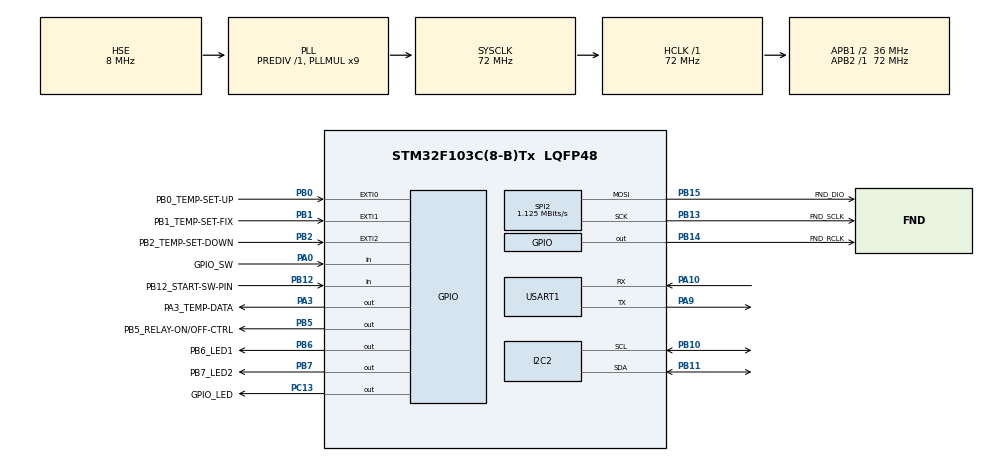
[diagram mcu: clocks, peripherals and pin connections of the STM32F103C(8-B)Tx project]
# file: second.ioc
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I2C2.I2C_Mode=I2C_Fast
Mcu.Family=STM32F1
Mcu.Name=STM32F103C(8-B)Tx
Mcu.Package=LQFP48
NVIC.EXTI0_IRQn=true\:9\:0\:true\:false\:true\:true\:true\:true
NVIC.EXTI1_IRQn=true\:9\:0\:true\:false\:true\:true\:true\:true
NVIC.EXTI2_IRQn=true\:9\:0\:true\:false\:true\:true\:true\:true
NVIC.PriorityGroup=NVIC_PRIORITYGROUP_4
NVIC.TIM2_IRQn=true\:0\:0\:true\:false\:true\:true\:true\:true
NVIC.TIM3_IRQn=true\:10\:0\:true\:false\:true\:true\:true\:true
PA0-WKUP.GPIO_Label=GPIO_SW
PA0-WKUP.GPIO_PuPd=GPIO_PULLUP
PA0-WKUP.Signal=GPIO_Input
PA10.Mode=Asynchronous
PA10.Signal=USART1_RX
PA13.Mode=Serial_Wire
PA13.Signal=SYS_JTMS-SWDIO
PA14.Mode=Serial_Wire
PA14.Signal=SYS_JTCK-SWCLK
PA3.GPIO_Label=PA3_TEMP-DATA
PA3.GPIO_PuPd=GPIO_PULLUP
PA3.GPIO_Speed=GPIO_SPEED_FREQ_HIGH
PA3.PinState=GPIO_PIN_SET
PA3.Signal=GPIO_Output
PA9.Mode=Asynchronous
PA9.Signal=USART1_TX
PB0.GPIO_Label=PB0_TEMP-SET-UP
PB0.GPIO_ModeDefaultEXTI=GPIO_MODE_IT_FALLING
PB0.GPIO_PuPd=GPIO_PULLUP
PB0.Signal=GPXTI0
PB1.GPIO_Label=PB1_TEMP-SET-FIX
PB1.GPIO_ModeDefaultEXTI=GPIO_MODE_IT_FALLING
PB1.GPIO_PuPd=GPIO_PULLUP
PB1.Signal=GPXTI1
PB10.Mode=I2C
PB10.Signal=I2C2_SCL
PB11.Mode=I2C
PB11.Signal=I2C2_SDA
PB12.GPIO_Label=PB12_START-SW-PIN
PB12.GPIO_PuPd=GPIO_PULLUP
PB12.Signal=GPIO_Input
PB13.GPIO_Label=FND_SCLK
PB13.Mode=TX_Only_Simplex_Unidirect_Master
PB13.Signal=SPI2_SCK
PB14.GPIO_Label=FND_RCLK
PB14.GPIO_PuPd=GPIO_PULLUP
PB14.GPIO_Speed=GPIO_SPEED_FREQ_HIGH
PB14.PinState=GPIO_PIN_SET
PB14.Signal=GPIO_Output
PB15.GPIO_Label=FND_DIO
PB15.Mode=TX_Only_Simplex_Unidirect_Master
PB15.Signal=SPI2_MOSI
PB2.GPIO_Label=PB2_TEMP-SET-DOWN
PB2.GPIO_ModeDefaultEXTI=GPIO_MODE_IT_FALLING
PB2.GPIO_PuPd=GPIO_PULLUP
PB2.Signal=GPXTI2
PB5.GPIO_Label=PB5_RELAY-ON/OFF-CTRL
PB5.GPIO_PuPd=GPIO_PULLDOWN
PB5.GPIO_Speed=GPIO_SPEED_FREQ_HIGH
PB5.Signal=GPIO_Output
PB6.GPIO_Label=PB6_LED1
PB6.GPIO_PuPd=GPIO_PULLUP
PB6.GPIO_Speed=GPIO_SPEED_FREQ_LOW
PB6.PinState=GPIO_PIN_SET
PB6.Signal=GPIO_Output
PB7.GPIO_Label=PB7_LED2
PB7.GPIO_PuPd=GPIO_PULLUP
PB7.GPIO_Speed=GPIO_SPEED_FREQ_HIGH
PB7.PinState=GPIO_PIN_SET
PB7.Signal=GPIO_Output
PC13-TAMPER-RTC.GPIO_Label=GPIO_LED
PC13-TAMPER-RTC.GPIO_PuPd=GPIO_PULLDOWN
PC13-TAMPER-RTC.GPIO_Speed=GPIO_SPEED_FREQ_HIGH
PC13-TAMPER-RTC.PinState=GPIO_PIN_SET
PC13-TAMPER-RTC.Signal=GPIO_Output
PC14-OSC32_IN.Mode=LSE-External-Oscillator
PC14-OSC32_IN.Signal=RCC_OSC32_IN
PC15-OSC32_OUT.Mode=LSE-External-Oscillator
PC15-OSC32_OUT.Signal=RCC_OSC32_OUT
PD0-OSC_IN.Mode=HSE-External-Oscillator
PD0-OSC_IN.Signal=RCC_OSC_IN
PD1-OSC_OUT.Mode=HSE-External-Oscillator
PD1-OSC_OUT.Signal=RCC_OSC_OUT
ProjectManager.HeapSize=0x200
ProjectManager.StackSize=0x400
ProjectManager.TargetToolchain=STM32CubeIDE
RCC.AHBFreq_Value=72000000
RCC.APB1CLKDivider=RCC_HCLK_DIV2
RCC.APB1Freq_Value=36000000
RCC.APB1TimFreq_Value=72000000
RCC.APB2Freq_Value=72000000
RCC.APB2TimFreq_Value=72000000
RCC.HCLKFreq_Value=72000000
RCC.PLLMUL=RCC_PLL_MUL9
RCC.PLLSourceVirtual=RCC_PLLSOURCE_HSE
RCC.SYSCLKFreq_VALUE=72000000
RCC.SYSCLKSource=RCC_SYSCLKSOURCE_PLLCLK
RCC.USBFreq_Value=72000000
SPI2.BaudRatePrescaler=SPI_BAUDRATEPRESCALER_32
SPI2.CLKPhase=SPI_PHASE_2EDGE
SPI2.CalculateBaudRate=1.125 MBits/s
SPI2.Direction=SPI_DIRECTION_2LINES
SPI2.Mode=SPI_MODE_MASTER
SPI2.VirtualType=VM_MASTER
TIM2.AutoReloadPreload=TIM_AUTORELOAD_PRELOAD_DISABLE
TIM2.Period=0xFFFF
TIM2.Prescaler=(72-1)
TIM3.Period=49
TIM3.Prescaler=71
USART1.VirtualMode=VM_ASYNC
VP_TIM2_VS_ClockSourceINT.Mode=Internal
VP_TIM3_VS_ClockSourceINT.Mode=Internal
board=custom

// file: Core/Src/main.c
/* USER CODE BEGIN Header */
/**
  ******************************************************************************
  * @file           : main.c
  * @brief          : Main program body
  ******************************************************************************
  * @attention
  *
  * Copyright (c) 2023 STMicroelectronics.
  * All rights reserved.
  *
  * This software is licensed under terms that can be found in the LICENSE file
  * in the root directory of this software component.
  * If no LICENSE file comes with this software, it is provided AS-IS.
  *
  ******************************************************************************
  */
/* USER CODE END Header */
#include "main.h"

/* USER CODE BEGIN Includes */
#include <stdio.h>
#include "fnd_controller.h"
#include "Ds18b20.h"
#include "heaterController.h"
#include "oledController.h"
#include "fonts.h"
#include "ssd1306.h"
#include "g_var.h"
#include "buttonController.h"

/* USER CODE END Includes */

I2C_HandleTypeDef hi2c2;
SPI_HandleTypeDef hspi2;
TIM_HandleTypeDef htim2;
TIM_HandleTypeDef htim3;
UART_HandleTypeDef huart1;

/* USER CODE BEGIN PV */
int button_state = 0;
/* USER CODE END PV */

void SystemClock_Config(void);
static void MX_GPIO_Init(void);
static void MX_USART1_UART_Init(void);
static void MX_TIM2_Init(void);
static void MX_I2C2_Init(void);
static void MX_SPI2_Init(void);
static void MX_TIM3_Init(void);

int main(void)
{
  /* USER CODE BEGIN 1 */
	float temper = 0.0;
  /* USER CODE END 1 */

  /* MCU Configuration--------------------------------------------------------*/

  /* Reset of all peripherals, Initializes the Flash interface and the Systick. */
  HAL_Init();

  /* Configure the system clock */
  SystemClock_Config();

  /* Initialize all configured peripherals */
  MX_GPIO_Init();
  MX_USART1_UART_Init();
  MX_TIM2_Init();
  MX_I2C2_Init();
  MX_SPI2_Init();
  MX_TIM3_Init();
  /* USER CODE BEGIN 2 */
  //Ds18b20_Init();
  Ds18b20_Init_Simple();

  init_fnd(&hspi2);
  HAL_TIM_Base_Start_IT(&htim3);
  SSD1306_Init();
  opening();
  /* USER CODE END 2 */

  /* Infinite loop */
  /* USER CODE BEGIN WHILE */
  static int m_count = 0;
  static int m_first = 0;

  while (1)
  {

	  checkButton();
	  if(m_count > 100 || !m_first){
		  if(!isConverting()){
			  StartConverting();
		  }
		  checkConverting();
		  if(!isConverting()){
			  temper = getTemper();
			  if(getSwState() == ON_t){
				  heaterControll(temper);
			  }else{
				  if(getHeaterState() == ON_t){
					  heaterOnOff(OFF_t);
				  }
			  }

			  m_count = 0;
			  m_first = 1;
		  }
	  }
	  m_count++;
	  HAL_Delay(10);
    /* USER CODE END WHILE */

  }
}

void SystemClock_Config(void)
{
  RCC_OscInitTypeDef RCC_OscInitStruct = {0};
  RCC_ClkInitTypeDef RCC_ClkInitStruct = {0};

  /** Initializes the RCC Oscillators according to the specified parameters
  * in the RCC_OscInitTypeDef structure.
  */
  RCC_OscInitStruct.OscillatorType = RCC_OSCILLATORTYPE_HSE;
  RCC_OscInitStruct.HSEState = RCC_HSE_ON;
  RCC_OscInitStruct.HSEPredivValue = RCC_HSE_PREDIV_DIV1;
  RCC_OscInitStruct.HSIState = RCC_HSI_ON;
  RCC_OscInitStruct.PLL.PLLState = RCC_PLL_ON;
  RCC_OscInitStruct.PLL.PLLSource = RCC_PLLSOURCE_HSE;
  RCC_OscInitStruct.PLL.PLLMUL = RCC_PLL_MUL9;
  if (HAL_RCC_OscConfig(&RCC_OscInitStruct) != HAL_OK)
  {
    Error_Handler();
  }

  /** Initializes the CPU, AHB and APB buses clocks
  */
  RCC_ClkInitStruct.ClockType = RCC_CLOCKTYPE_HCLK|RCC_CLOCKTYPE_SYSCLK
                              |RCC_CLOCKTYPE_PCLK1|RCC_CLOCKTYPE_PCLK2;
  RCC_ClkInitStruct.SYSCLKSource = RCC_SYSCLKSOURCE_PLLCLK;
  RCC_ClkInitStruct.AHBCLKDivider = RCC_SYSCLK_DIV1;
  RCC_ClkInitStruct.APB1CLKDivider = RCC_HCLK_DIV2;
  RCC_ClkInitStruct.APB2CLKDivider = RCC_HCLK_DIV1;

  if (HAL_RCC_ClockConfig(&RCC_ClkInitStruct, FLASH_LATENCY_2) != HAL_OK)
  {
    Error_Handler();
  }
}

static void MX_I2C2_Init(void)
{

  hi2c2.Instance = I2C2;
  hi2c2.Init.ClockSpeed = 400000;
  hi2c2.Init.DutyCycle = I2C_DUTYCYCLE_2;
  hi2c2.Init.OwnAddress1 = 0;
  hi2c2.Init.AddressingMode = I2C_ADDRESSINGMODE_7BIT;
  hi2c2.Init.DualAddressMode = I2C_DUALADDRESS_DISABLE;
  hi2c2.Init.OwnAddress2 = 0;
  hi2c2.Init.GeneralCallMode = I2C_GENERALCALL_DISABLE;
  hi2c2.Init.NoStretchMode = I2C_NOSTRETCH_DISABLE;
  if (HAL_I2C_Init(&hi2c2) != HAL_OK)
  {
    Error_Handler();
  }

}

static void MX_SPI2_Init(void)
{

  /* SPI2 parameter configuration*/
  hspi2.Instance = SPI2;
  hspi2.Init.Mode = SPI_MODE_MASTER;
  hspi2.Init.Direction = SPI_DIRECTION_2LINES;
  hspi2.Init.DataSize = SPI_DATASIZE_8BIT;
  hspi2.Init.CLKPolarity = SPI_POLARITY_LOW;
  hspi2.Init.CLKPhase = SPI_PHASE_2EDGE;
  hspi2.Init.NSS = SPI_NSS_SOFT;
  hspi2.Init.BaudRatePrescaler = SPI_BAUDRATEPRESCALER_32;
  hspi2.Init.FirstBit = SPI_FIRSTBIT_MSB;
  hspi2.Init.TIMode = SPI_TIMODE_DISABLE;
  hspi2.Init.CRCCalculation = SPI_CRCCALCULATION_DISABLE;
  hspi2.Init.CRCPolynomial = 10;
  if (HAL_SPI_Init(&hspi2) != HAL_OK)
  {
    Error_Handler();
  }

}

static void MX_TIM2_Init(void)
{

  TIM_ClockConfigTypeDef sClockSourceConfig = {0};
  TIM_MasterConfigTypeDef sMasterConfig = {0};

  htim2.Instance = TIM2;
  htim2.Init.Prescaler = (72-1);
  htim2.Init.CounterMode = TIM_COUNTERMODE_UP;
  htim2.Init.Period = 0xFFFF;
  htim2.Init.ClockDivision = TIM_CLOCKDIVISION_DIV1;
  htim2.Init.AutoReloadPreload = TIM_AUTORELOAD_PRELOAD_DISABLE;
  if (HAL_TIM_Base_Init(&htim2) != HAL_OK)
  {
    Error_Handler();
  }
  sClockSourceConfig.ClockSource = TIM_CLOCKSOURCE_INTERNAL;
  if (HAL_TIM_ConfigClockSource(&htim2, &sClockSourceConfig) != HAL_OK)
  {
    Error_Handler();
  }
  sMasterConfig.MasterOutputTrigger = TIM_TRGO_RESET;
  sMasterConfig.MasterSlaveMode = TIM_MASTERSLAVEMODE_DISABLE;
  if (HAL_TIMEx_MasterConfigSynchronization(&htim2, &sMasterConfig) != HAL_OK)
  {
    Error_Handler();
  }

}

static void MX_TIM3_Init(void)
{

  TIM_ClockConfigTypeDef sClockSourceConfig = {0};
  TIM_MasterConfigTypeDef sMasterConfig = {0};

  htim3.Instance = TIM3;
  htim3.Init.Prescaler = 71;
  htim3.Init.CounterMode = TIM_COUNTERMODE_UP;
  htim3.Init.Period = 49;
  htim3.Init.ClockDivision = TIM_CLOCKDIVISION_DIV1;
  htim3.Init.AutoReloadPreload = TIM_AUTORELOAD_PRELOAD_DISABLE;
  if (HAL_TIM_Base_Init(&htim3) != HAL_OK)
  {
    Error_Handler();
  }
  sClockSourceConfig.ClockSource = TIM_CLOCKSOURCE_INTERNAL;
  if (HAL_TIM_ConfigClockSource(&htim3, &sClockSourceConfig) != HAL_OK)
  {
    Error_Handler();
  }
  sMasterConfig.MasterOutputTrigger = TIM_TRGO_RESET;
  sMasterConfig.MasterSlaveMode = TIM_MASTERSLAVEMODE_DISABLE;
  if (HAL_TIMEx_MasterConfigSynchronization(&htim3, &sMasterConfig) != HAL_OK)
  {
    Error_Handler();
  }

}

static void MX_USART1_UART_Init(void)
{

  huart1.Instance = USART1;
  huart1.Init.BaudRate = 115200;
  huart1.Init.WordLength = UART_WORDLENGTH_8B;
  huart1.Init.StopBits = UART_STOPBITS_1;
  huart1.Init.Parity = UART_PARITY_NONE;
  huart1.Init.Mode = UART_MODE_TX_RX;
  huart1.Init.HwFlowCtl = UART_HWCONTROL_NONE;
  huart1.Init.OverSampling = UART_OVERSAMPLING_16;
  if (HAL_UART_Init(&huart1) != HAL_OK)
  {
    Error_Handler();
  }

}

static void MX_GPIO_Init(void)
{
  GPIO_InitTypeDef GPIO_InitStruct = {0};

  /* GPIO Ports Clock Enable */
  __HAL_RCC_GPIOC_CLK_ENABLE();
  __HAL_RCC_GPIOD_CLK_ENABLE();
  __HAL_RCC_GPIOA_CLK_ENABLE();
  __HAL_RCC_GPIOB_CLK_ENABLE();

  /*Configure GPIO pin Output Level */
  HAL_GPIO_WritePin(GPIO_LED_GPIO_Port, GPIO_LED_Pin, GPIO_PIN_SET);

  /*Configure GPIO pin Output Level */
  HAL_GPIO_WritePin(PA3_TEMP_DATA_GPIO_Port, PA3_TEMP_DATA_Pin, GPIO_PIN_SET);

  /*Configure GPIO pin Output Level */
  HAL_GPIO_WritePin(GPIOB, FND_RCLK_Pin|PB6_LED1_Pin|PB7_LED2_Pin, GPIO_PIN_SET);

  /*Configure GPIO pin Output Level */
  HAL_GPIO_WritePin(PB5_RELAY_ON_OFF_CTRL_GPIO_Port, PB5_RELAY_ON_OFF_CTRL_Pin, GPIO_PIN_RESET);

  /*Configure GPIO pin : GPIO_LED_Pin */
  GPIO_InitStruct.Pin = GPIO_LED_Pin;
  GPIO_InitStruct.Mode = GPIO_MODE_OUTPUT_PP;
  GPIO_InitStruct.Pull = GPIO_PULLDOWN;
  GPIO_InitStruct.Speed = GPIO_SPEED_FREQ_HIGH;
  HAL_GPIO_Init(GPIO_LED_GPIO_Port, &GPIO_InitStruct);

  /*Configure GPIO pin : GPIO_SW_Pin */
  GPIO_InitStruct.Pin = GPIO_SW_Pin;
  GPIO_InitStruct.Mode = GPIO_MODE_INPUT;
  GPIO_InitStruct.Pull = GPIO_PULLUP;
  HAL_GPIO_Init(GPIO_SW_GPIO_Port, &GPIO_InitStruct);

  /*Configure GPIO pin : PA3_TEMP_DATA_Pin */
  GPIO_InitStruct.Pin = PA3_TEMP_DATA_Pin;
  GPIO_InitStruct.Mode = GPIO_MODE_OUTPUT_PP;
  GPIO_InitStruct.Pull = GPIO_PULLUP;
  GPIO_InitStruct.Speed = GPIO_SPEED_FREQ_HIGH;
  HAL_GPIO_Init(PA3_TEMP_DATA_GPIO_Port, &GPIO_InitStruct);

  /*Configure GPIO pins : PB0_TEMP_SET_UP_Pin PB1_TEMP_SET_FIX_Pin PB2_TEMP_SET_DOWN_Pin */
  GPIO_InitStruct.Pin = PB0_TEMP_SET_UP_Pin|PB1_TEMP_SET_FIX_Pin|PB2_TEMP_SET_DOWN_Pin;
  GPIO_InitStruct.Mode = GPIO_MODE_IT_FALLING;
  GPIO_InitStruct.Pull = GPIO_PULLUP;
  HAL_GPIO_Init(GPIOB, &GPIO_InitStruct);

  /*Configure GPIO pin : PB12_START_SW_PIN_Pin */
  GPIO_InitStruct.Pin = PB12_START_SW_PIN_Pin;
  GPIO_InitStruct.Mode = GPIO_MODE_INPUT;
  GPIO_InitStruct.Pull = GPIO_PULLUP;
  HAL_GPIO_Init(PB12_START_SW_PIN_GPIO_Port, &GPIO_InitStruct);

  /*Configure GPIO pins : FND_RCLK_Pin PB7_LED2_Pin */
  GPIO_InitStruct.Pin = FND_RCLK_Pin|PB7_LED2_Pin;
  GPIO_InitStruct.Mode = GPIO_MODE_OUTPUT_PP;
  GPIO_InitStruct.Pull = GPIO_PULLUP;
  GPIO_InitStruct.Speed = GPIO_SPEED_FREQ_HIGH;
  HAL_GPIO_Init(GPIOB, &GPIO_InitStruct);

  /*Configure GPIO pin : PB5_RELAY_ON_OFF_CTRL_Pin */
  GPIO_InitStruct.Pin = PB5_RELAY_ON_OFF_CTRL_Pin;
  GPIO_InitStruct.Mode = GPIO_MODE_OUTPUT_PP;
  GPIO_InitStruct.Pull = GPIO_PULLDOWN;
  GPIO_InitStruct.Speed = GPIO_SPEED_FREQ_HIGH;
  HAL_GPIO_Init(PB5_RELAY_ON_OFF_CTRL_GPIO_Port, &GPIO_InitStruct);

  /*Configure GPIO pin : PB6_LED1_Pin */
  GPIO_InitStruct.Pin = PB6_LED1_Pin;
  GPIO_InitStruct.Mode = GPIO_MODE_OUTPUT_PP;
  GPIO_InitStruct.Pull = GPIO_PULLUP;
  GPIO_InitStruct.Speed = GPIO_SPEED_FREQ_LOW;
  HAL_GPIO_Init(PB6_LED1_GPIO_Port, &GPIO_InitStruct);

  /* EXTI interrupt init*/
  HAL_NVIC_SetPriority(EXTI0_IRQn, 9, 0);
  HAL_NVIC_EnableIRQ(EXTI0_IRQn);

  HAL_NVIC_SetPriority(EXTI1_IRQn, 9, 0);
  HAL_NVIC_EnableIRQ(EXTI1_IRQn);

  HAL_NVIC_SetPriority(EXTI2_IRQn, 9, 0);
  HAL_NVIC_EnableIRQ(EXTI2_IRQn);

}

void Error_Handler(void)
{
  __disable_irq();
  while (1)
  {
  }
}
